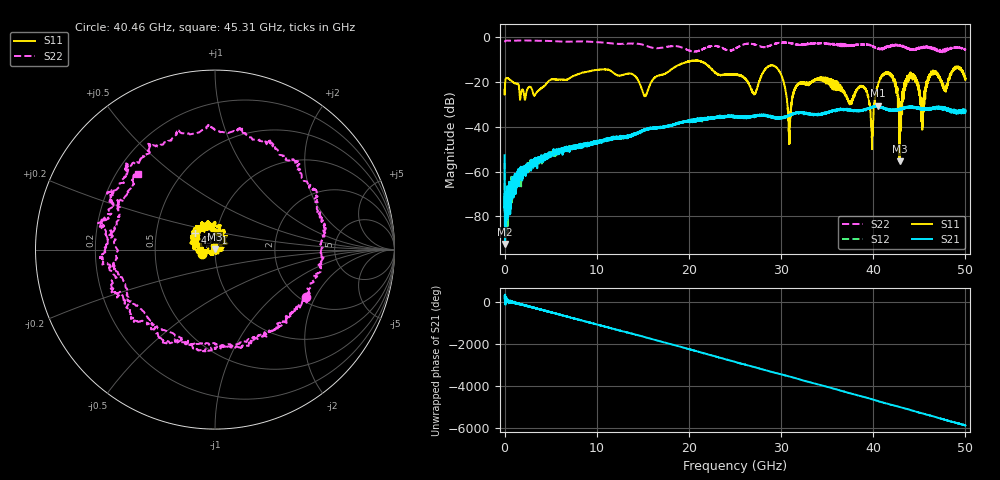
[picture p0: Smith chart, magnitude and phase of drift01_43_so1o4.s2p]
!Created with skrf (http://scikit-rf.org).
# Hz S RI R 50.0
!freq ReS11 ImS11 ReS21 ImS21 ReS12 ImS12 ReS22 ImS22
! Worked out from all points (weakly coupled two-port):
!   10001 points, 300 kHz to 50 GHz, reference 50 ohm
!   highest |S21| = -30.54 dB at 40.52 GHz (marker M1); lowest = -92.3 dB at 40.3 MHz (marker M2)
!   lowest |S11| = -55.4 dB at 42.85 GHz (marker M3), VSWR 1.00, Z = 49.9 + j0.102 ohm
!   |S11| at or under -10 dB: start of sweep to end of sweep
!   |S22| runs from -6.7 to -1.4 dB; largest |S21 - S12| = 0.0039
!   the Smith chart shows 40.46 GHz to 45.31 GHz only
!   S11 on the Smith chart (normalised r, x): 40.46 GHz: 0.86, -0.04; 43.91 GHz: 0.79, +0.15; 45.31 GHz: 0.99, +0.03
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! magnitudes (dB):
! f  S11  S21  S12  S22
! 300 kHz  -23.4  -52.7  -55.9  -2.1
! 40.3 MHz  -21.4  -92.3  -84.8  -1.7
! 255.3 MHz  -18.1  -79.7  -76.8  -1.4
! 2.415 GHz  -23.8  -59.3  -59.3  -1.4
! 8.335 GHz  -15.9  -48.0  -48.3  -1.8
! 16.67 GHz  -17.1  -40.2  -40.2  -4.8
! 25 GHz  -16.7  -35.9  -35.4  -5.1
! 27.1 GHz  -25.3  -35.4  -35.1  -3.2
! 29.42 GHz  -13.1  -36.3  -36.0  -2.8
! 30.9 GHz  -46.1  -34.7  -34.7  -2.5
! 31.66 GHz  -21.9  -33.7  -33.7  -3.1
! 33.34 GHz  -19.7  -34.2  -34.2  -2.7
! 38.92 GHz  -22.3  -32.6  -32.4  -3.0
! 39.85 GHz  -44.8  -31.2  -31.1  -3.7
! 40.46 GHz  -22.1  -30.6  -30.9  -4.9
! 40.52 GHz  -21.2  -30.5  -30.9  -5.1
! 41.67 GHz  -16.1  -32.3  -32.5  -4.4
! 42.85 GHz  -55.4  -32.6  -32.1  -3.5
! 43.91 GHz  -16.9  -31.3  -31.2  -5.0
! 45.31 GHz  -36.0  -31.7  -31.9  -4.4
! 46.42 GHz  -15.6  -31.8  -31.7  -4.6
! 50 GHz  -18.3  -33.5  -32.2  -5.3
